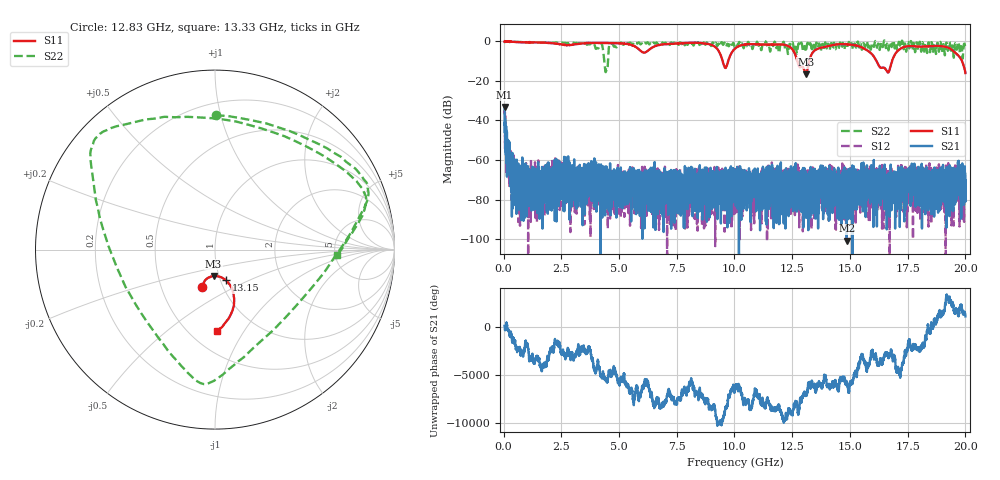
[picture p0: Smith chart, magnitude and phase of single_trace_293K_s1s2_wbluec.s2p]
!Agilent Technologies,E8364A,US41440322,A.04.87.01
!Agilent E8364A: A.04.87.01
!Date: Thursday, July 11, 2024 14:22:37
!Correction: S11(Full 2 Port SOLT,1,2) S21(Full 2 Port SOLT,1,2) S12(Full 2 Port SOLT,1,2) S22(Full 2 Port SOLT,1,2)
!S2P File: Measurements: S11, S21, S12, S22:
# Hz S  dB  R 50
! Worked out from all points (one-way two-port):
!   6401 points, 45 MHz to 20 GHz, reference 50 ohm
!   highest |S21| = -33.23 dB at 45 MHz (marker M1); lowest = -100.8 dB at 14.86 GHz (marker M2)
!   lowest |S11| = -16.7 dB at 13.09 GHz (marker M3), VSWR 1.34, Z = 47.2 - j14.1 ohm
!   |S11| at or under -10 dB: 9.488 GHz to 9.729 GHz (241.9 MHz wide, 2.52 % of centre); 12.72 GHz to 13.23 GHz (512.5 MHz wide, 3.95 % of centre); 16.15 GHz to 16.82 GHz (670.6 MHz wide, 4.07 % of centre)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
!   |S22| runs from -15.6 to 0.4 dB; largest |S21 - S12| = 0.042
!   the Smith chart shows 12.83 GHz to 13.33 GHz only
!   S11 on the Smith chart (normalised r, x): 12.83 GHz: 0.80, -0.35; 13.15 GHz: 1.06, -0.38; 13.33 GHz: 0.67, -0.77
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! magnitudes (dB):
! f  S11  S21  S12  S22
! 45 MHz  -0.1  -33.2  -32.3  -0.3
! 194.7 MHz  -0.2  -54.1  -61.9  -0.2
! 618.7 MHz  -0.5  -70.7  -66.1  -0.4
! 3.372 GHz  -1.2  -72.1  -67.4  -1.1
! 4.22 GHz  -0.9  -62.3  -62.8  -1.0
! 4.435 GHz  -0.9  -75.1  -79.6  -15.3
! 4.66 GHz  -1.0  -72.4  -77.1  -1.1
! 6.699 GHz  -2.0  -68.3  -78.1  -1.7
! 8.947 GHz  -1.6  -76.0  -88.6  -1.3
! 9.605 GHz  -13.5  -78.5  -71.4  -1.8
! 10.02 GHz  -3.8  -70.8  -74.1  -3.0
! 12.22 GHz  -2.0  -75.6  -73.2  -3.8
! 12.83 GHz  -13.1  -74.6  -78.7  -2.5
! 13.09 GHz  -16.7  -77.5  -71.7  -5.4
! 13.15 GHz  -14.8  -82.9  -67.4  -1.1
! 13.33 GHz  -6.9  -71.7  -80.3  -3.3
! 13.35 GHz  -6.4  -79.5  -80.5  -5.1
! 14.86 GHz  -1.6  -100.8  -68.9  -2.8
! 16.68 GHz  -15.6  -79.7  -86.8  -4.4
! 17.25 GHz  -3.4  -69.7  -72.5  0.2
! 18.77 GHz  -2.4  -69.2  -65.9  -1.6
! 20 GHz  -16.1  -70.3  -75.1  -3.7
